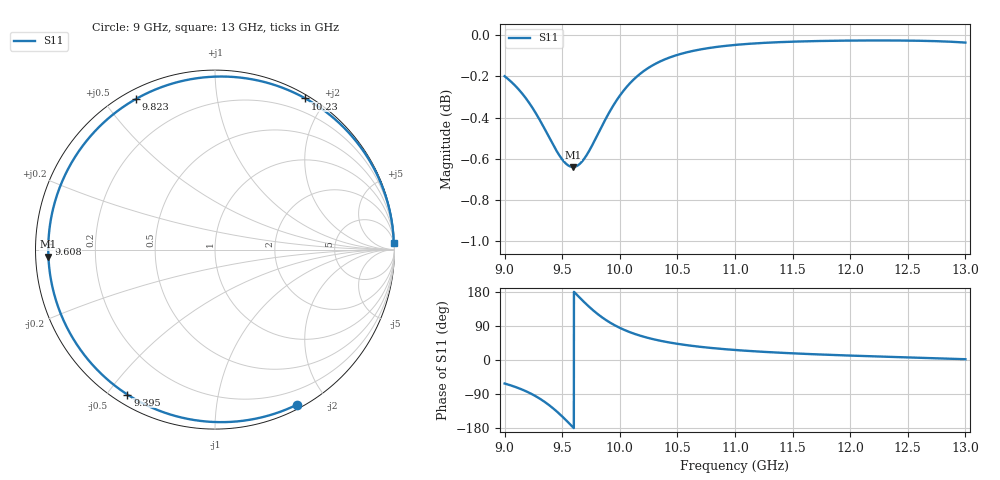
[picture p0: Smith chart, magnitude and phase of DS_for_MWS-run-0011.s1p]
! TOUCHSTONE file generated by CST DESIGN STUDIO
! Date and time: Tue Feb  4 13:28:03 2025
! Project name: C:\Work\MatlabApps\UnitCellOptimizationMatlab\CST\unitcell.cst
! Tree item: Tasks\Sweep1\SPara1\S-Parameters
! Header version: 2024
! Port assignment regex: !\s*Touchstone port\s*([0-9]+)\s*=\s*(CST MWS port|CST DES external port|CST DES block port)\s*(.+)\s* \(\"(.*)\"\)(\s*mode\s*([0-9]+))?.*
! Touchstone port assignment:
! Touchstone port 1 = CST DES external port 1 ("")
# GHz S MA R 50
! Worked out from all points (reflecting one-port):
!   4001 points, 9 GHz to 13 GHz, reference 50 ohm
!   lowest |S11| = -0.6 dB at 9.594 GHz (marker M1), VSWR 27.15, Z = 1.84 - j1.06 ohm
!   phase of S11 starts at -62 deg and turns -296 deg over the sweep
!   S11 on the Smith chart (normalised r, x): 9 GHz: 0.04, -1.66; 9.395 GHz: 0.04, -0.56; 9.608 GHz: 0.04, +0.02; 9.823 GHz: 0.04, +0.60; 10.23 GHz: 0.04, +1.76; 13 GHz: 6, +55
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9  0.9774 -62.0
9.052  0.9746 -66.8
9.122  0.9702 -74.4
9.243  0.9601 -91.1
9.324  0.9516 -105.6
9.395  0.9435 -121.2
9.447  0.9378 -134.3
9.5  0.9329 -149.0
9.549  0.9299 -163.6
9.594  0.9289 -177.6
9.608  0.929 178.1
9.663  0.9312 161.1
9.723  0.9362 143.4
9.773  0.9418 129.9
9.823  0.9478 117.7
9.862  0.9525 109.1
9.904  0.9573 100.8
10  0.9668 84.8
10.112  0.9751 70.7
10.235  0.9814 59.1
10.358  0.9857 50.4
10.5  0.9891 42.7
10.72  0.9923 34.1
11  0.9946 26.4
11.5  0.9964 17.6
12  0.997 11.6
12.5  0.997 6.9
13  0.9959 2.1
